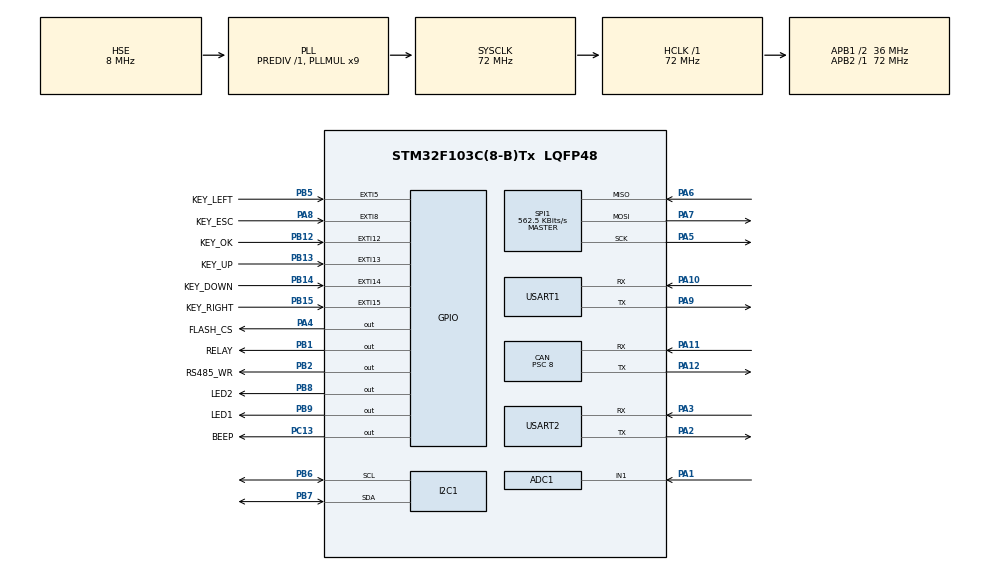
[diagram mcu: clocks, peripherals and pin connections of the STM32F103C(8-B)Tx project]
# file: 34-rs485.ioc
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ADC1.Channel-0\#ChannelRegularConversion=ADC_CHANNEL_1
ADC1.NbrOfConversionFlag=1
ADC1.Rank-0\#ChannelRegularConversion=1
ADC1.SamplingTime-0\#ChannelRegularConversion=ADC_SAMPLETIME_239CYCLES_5
ADC1.master=1
CAN.BS1=CAN_BS1_6TQ
CAN.BS2=CAN_BS2_2TQ
CAN.CalculateBaudRate=500000
CAN.CalculateTimeBit=2000
CAN.CalculateTimeQuantum=222.22222222222223
CAN.Prescaler=8
Dma.Request0=USART1_RX
Dma.Request1=USART2_RX
Dma.USART1_RX.0.Direction=DMA_PERIPH_TO_MEMORY
Dma.USART1_RX.0.Instance=DMA1_Channel5
Dma.USART1_RX.0.MemDataAlignment=DMA_MDATAALIGN_BYTE
Dma.USART1_RX.0.MemInc=DMA_MINC_ENABLE
Dma.USART1_RX.0.Mode=DMA_CIRCULAR
Dma.USART1_RX.0.PeriphDataAlignment=DMA_PDATAALIGN_BYTE
Dma.USART1_RX.0.PeriphInc=DMA_PINC_DISABLE
Dma.USART1_RX.0.Priority=DMA_PRIORITY_LOW
Dma.USART2_RX.1.Direction=DMA_PERIPH_TO_MEMORY
Dma.USART2_RX.1.Instance=DMA1_Channel6
Dma.USART2_RX.1.MemDataAlignment=DMA_MDATAALIGN_BYTE
Dma.USART2_RX.1.MemInc=DMA_MINC_ENABLE
Dma.USART2_RX.1.Mode=DMA_CIRCULAR
Dma.USART2_RX.1.PeriphDataAlignment=DMA_PDATAALIGN_BYTE
Dma.USART2_RX.1.PeriphInc=DMA_PINC_DISABLE
Dma.USART2_RX.1.Priority=DMA_PRIORITY_LOW
Mcu.Family=STM32F1
Mcu.Name=STM32F103C(8-B)Tx
Mcu.Package=LQFP48
NVIC.DMA1_Channel5_IRQn=true\:0\:0\:false\:false\:true\:false\:true\:true
NVIC.DMA1_Channel6_IRQn=true\:0\:0\:false\:false\:true\:false\:true\:true
NVIC.EXTI15_10_IRQn=true\:0\:0\:true\:false\:true\:true\:true\:true
NVIC.EXTI9_5_IRQn=true\:0\:0\:true\:false\:true\:true\:true\:true
NVIC.PriorityGroup=NVIC_PRIORITYGROUP_4
NVIC.USART1_IRQn=true\:0\:0\:false\:false\:true\:true\:true\:true
NVIC.USART2_IRQn=true\:0\:0\:false\:false\:true\:true\:true\:true
NVIC.USB_LP_CAN1_RX0_IRQn=true\:0\:0\:false\:false\:true\:true\:true\:true
PA1.Signal=ADCx_IN1
PA10.Mode=Asynchronous
PA10.Signal=USART1_RX
PA11.Mode=CAN_Activate
PA11.Signal=CAN_RX
PA12.Mode=CAN_Activate
PA12.Signal=CAN_TX
PA13.Mode=Serial_Wire
PA13.Signal=SYS_JTMS-SWDIO
PA14.Mode=Serial_Wire
PA14.Signal=SYS_JTCK-SWCLK
PA2.Mode=Asynchronous
PA2.Signal=USART2_TX
PA3.Mode=Asynchronous
PA3.Signal=USART2_RX
PA4.GPIO_Label=FLASH_CS
PA4.GPIO_Speed=GPIO_SPEED_FREQ_HIGH
PA4.PinState=GPIO_PIN_SET
PA4.Signal=GPIO_Output
PA5.Mode=Full_Duplex_Master
PA5.Signal=SPI1_SCK
PA6.Mode=Full_Duplex_Master
PA6.Signal=SPI1_MISO
PA7.Mode=Full_Duplex_Master
PA7.Signal=SPI1_MOSI
PA8.GPIO_Label=KEY_ESC
PA8.GPIO_ModeDefaultEXTI=GPIO_MODE_IT_FALLING
PA8.GPIO_PuPd=GPIO_PULLUP
PA8.Signal=GPXTI8
PA9.Mode=Asynchronous
PA9.Signal=USART1_TX
PB1.GPIO_Label=RELAY
PB1.Signal=GPIO_Output
PB12.GPIO_Label=KEY_OK
PB12.GPIO_ModeDefaultEXTI=GPIO_MODE_IT_FALLING
PB12.GPIO_PuPd=GPIO_PULLUP
PB12.Signal=GPXTI12
PB13.GPIO_Label=KEY_UP
PB13.GPIO_ModeDefaultEXTI=GPIO_MODE_IT_FALLING
PB13.GPIO_PuPd=GPIO_PULLUP
PB13.Signal=GPXTI13
PB14.GPIO_Label=KEY_DOWN
PB14.GPIO_ModeDefaultEXTI=GPIO_MODE_IT_FALLING
PB14.GPIO_PuPd=GPIO_PULLUP
PB14.Signal=GPXTI14
PB15.GPIO_Label=KEY_RIGHT
PB15.GPIO_ModeDefaultEXTI=GPIO_MODE_IT_FALLING
PB15.GPIO_PuPd=GPIO_PULLUP
PB15.Signal=GPXTI15
PB2.GPIO_Label=RS485_WR
PB2.Signal=GPIO_Output
PB5.GPIO_Label=KEY_LEFT
PB5.GPIO_ModeDefaultEXTI=GPIO_MODE_IT_FALLING
PB5.GPIO_PuPd=GPIO_PULLUP
PB5.Signal=GPXTI5
PB6.Mode=I2C
PB6.Signal=I2C1_SCL
PB7.Mode=I2C
PB7.Signal=I2C1_SDA
PB8.GPIO_Label=LED2
PB8.PinState=GPIO_PIN_SET
PB8.Signal=GPIO_Output
PB9.GPIO_Label=LED1
PB9.PinState=GPIO_PIN_SET
PB9.Signal=GPIO_Output
PC13-TAMPER-RTC.GPIO_Label=BEEP
PC13-TAMPER-RTC.Signal=GPIO_Output
PC14-OSC32_IN.Mode=LSE-External-Oscillator
PC14-OSC32_IN.Signal=RCC_OSC32_IN
PC15-OSC32_OUT.Mode=LSE-External-Oscillator
PC15-OSC32_OUT.Signal=RCC_OSC32_OUT
PD0-OSC_IN.Mode=HSE-External-Oscillator
PD0-OSC_IN.Signal=RCC_OSC_IN
PD1-OSC_OUT.Mode=HSE-External-Oscillator
PD1-OSC_OUT.Signal=RCC_OSC_OUT
ProjectManager.HeapSize=0x200
ProjectManager.StackSize=0x400
ProjectManager.TargetToolchain=MDK-ARM V5.32
RCC.ADCPresc=RCC_ADCPCLK2_DIV6
RCC.AHBFreq_Value=72000000
RCC.APB1CLKDivider=RCC_HCLK_DIV2
RCC.APB1Freq_Value=36000000
RCC.APB1TimFreq_Value=72000000
RCC.APB2Freq_Value=72000000
RCC.APB2TimFreq_Value=72000000
RCC.HCLKFreq_Value=72000000
RCC.PLLMUL=RCC_PLL_MUL9
RCC.PLLSourceVirtual=RCC_PLLSOURCE_HSE
RCC.RTCClockSelection=RCC_RTCCLKSOURCE_LSE
RCC.SYSCLKFreq_VALUE=72000000
RCC.SYSCLKSource=RCC_SYSCLKSOURCE_PLLCLK
RCC.USBFreq_Value=72000000
RTC.Date=4
RTC.Hours=10
RTC.Minutes=20
RTC.Month=RTC_MONTH_SEPTEMBER
RTC.Seconds=30
RTC.WeekDay=RTC_WEEKDAY_THURSDAY
RTC.Year=25
SH.ADCx_IN1.0=ADC1_IN1,IN1
SPI1.BaudRatePrescaler=SPI_BAUDRATEPRESCALER_128
SPI1.CalculateBaudRate=562.5 KBits/s
SPI1.Direction=SPI_DIRECTION_2LINES
SPI1.Mode=SPI_MODE_MASTER
SPI1.VirtualType=VM_MASTER
USART1.VirtualMode=VM_ASYNC
USART2.VirtualMode=VM_ASYNC
VP_RTC_VS_RTC_Activate.Mode=RTC_Enabled
VP_RTC_VS_RTC_Calendar.Mode=RTC_Calendar
board=custom

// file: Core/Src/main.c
/* USER CODE BEGIN Header */
/**
  ******************************************************************************
  * @file           : main.c
  * @brief          : Main program body
  ******************************************************************************
  * @attention
  *
  * Copyright (c) 2025 STMicroelectronics.
  * All rights reserved.
  *
  * This software is licensed under terms that can be found in the LICENSE file
  * in the root directory of this software component.
  * If no LICENSE file comes with this software, it is provided AS-IS.
  *
  ******************************************************************************
  */
/* USER CODE END Header */
#include "main.h"
#include "adc.h"
#include "can.h"
#include "dma.h"
#include "i2c.h"
#include "rtc.h"
#include "spi.h"
#include "usart.h"
#include "gpio.h"

/* USER CODE BEGIN Includes */
#include <stdio.h>
#include "oled.h"
#include "aht20.h"
#include "ina226.h"
#include "w25qx.h"
/* USER CODE END Includes */

void SystemClock_Config(void);

int main(void)
{

  /* MCU Configuration--------------------------------------------------------*/

  /* Reset of all peripherals, Initializes the Flash interface and the Systick. */
  HAL_Init();

  /* Configure the system clock */
  SystemClock_Config();

  /* Initialize all configured peripherals */
  MX_GPIO_Init();
  MX_DMA_Init();
  MX_USART1_UART_Init();
  MX_I2C1_Init();
  MX_RTC_Init();
  MX_ADC1_Init();
  MX_SPI1_Init();
  MX_CAN_Init();
  MX_USART2_UART_Init();
  /* USER CODE BEGIN 2 */
	printf("Uart1 init is ok\n");
	printf("RS485 Test\n");
	__HAL_UART_ENABLE_IT(&huart1, UART_IT_IDLE); //使能串UART1 IDLE(空闲)中断
	HAL_UART_Receive_DMA(&huart1, RX1_Buf, DMA_BUF_SIZE); //设置DMA传输，将uart1的数据搬运到RX1_Buf中

	__HAL_UART_ENABLE_IT(&huart2, UART_IT_IDLE); //使能串UART1 IDLE(空闲)中断
	HAL_UART_Receive_DMA(&huart2, RX2_Buf, DMA_BUF_SIZE); //设置DMA传输，将uart1的数据搬运到RX2_Buf中

	//EEPROM_Test();

	OLED_Init();
	OLED_CLS(); // 清除屏幕显示
	OLED_ShowStr(16,0, (unsigned char*)"RS485 Test", 2);
	AHT20_Init();
	INA226_Init();

	//W25Qx_Test();
	CANFilter_Init();
	CAN_Start_Init();
  /* USER CODE END 2 */

  /* Infinite loop */
  while (1)
  {

    /* USER CODE BEGIN 3 */
		//LED_Test();
		//BEEP_Test();
		//RELAY_Test();
		//KEY_Test();
		//OLED_Test();
		//AHT20_Test();
		//INA226_Test();
		//IWDG_Test();
		//RTC_Test();
		//ADC_VR_Test();
		//ADC_CPU_Test();
		//ADC_VR_CPU_Test();
		//CAN_Test();

  }
  /* USER CODE END 3 */
}

void SystemClock_Config(void)
{
  RCC_OscInitTypeDef RCC_OscInitStruct = {0};
  RCC_ClkInitTypeDef RCC_ClkInitStruct = {0};
  RCC_PeriphCLKInitTypeDef PeriphClkInit = {0};

  /** Initializes the RCC Oscillators according to the specified parameters
  * in the RCC_OscInitTypeDef structure.
  */
  RCC_OscInitStruct.OscillatorType = RCC_OSCILLATORTYPE_HSE|RCC_OSCILLATORTYPE_LSE;
  RCC_OscInitStruct.HSEState = RCC_HSE_ON;
  RCC_OscInitStruct.HSEPredivValue = RCC_HSE_PREDIV_DIV1;
  RCC_OscInitStruct.LSEState = RCC_LSE_ON;
  RCC_OscInitStruct.HSIState = RCC_HSI_ON;
  RCC_OscInitStruct.PLL.PLLState = RCC_PLL_ON;
  RCC_OscInitStruct.PLL.PLLSource = RCC_PLLSOURCE_HSE;
  RCC_OscInitStruct.PLL.PLLMUL = RCC_PLL_MUL9;
  if (HAL_RCC_OscConfig(&RCC_OscInitStruct) != HAL_OK)
  {
    Error_Handler();
  }

  /** Initializes the CPU, AHB and APB buses clocks
  */
  RCC_ClkInitStruct.ClockType = RCC_CLOCKTYPE_HCLK|RCC_CLOCKTYPE_SYSCLK
                              |RCC_CLOCKTYPE_PCLK1|RCC_CLOCKTYPE_PCLK2;
  RCC_ClkInitStruct.SYSCLKSource = RCC_SYSCLKSOURCE_PLLCLK;
  RCC_ClkInitStruct.AHBCLKDivider = RCC_SYSCLK_DIV1;
  RCC_ClkInitStruct.APB1CLKDivider = RCC_HCLK_DIV2;
  RCC_ClkInitStruct.APB2CLKDivider = RCC_HCLK_DIV1;

  if (HAL_RCC_ClockConfig(&RCC_ClkInitStruct, FLASH_LATENCY_2) != HAL_OK)
  {
    Error_Handler();
  }
  PeriphClkInit.PeriphClockSelection = RCC_PERIPHCLK_RTC|RCC_PERIPHCLK_ADC;
  PeriphClkInit.RTCClockSelection = RCC_RTCCLKSOURCE_LSE;
  PeriphClkInit.AdcClockSelection = RCC_ADCPCLK2_DIV6;
  if (HAL_RCCEx_PeriphCLKConfig(&PeriphClkInit) != HAL_OK)
  {
    Error_Handler();
  }
}

void Error_Handler(void)
{
  __disable_irq();
  while (1)
  {
  }
}
